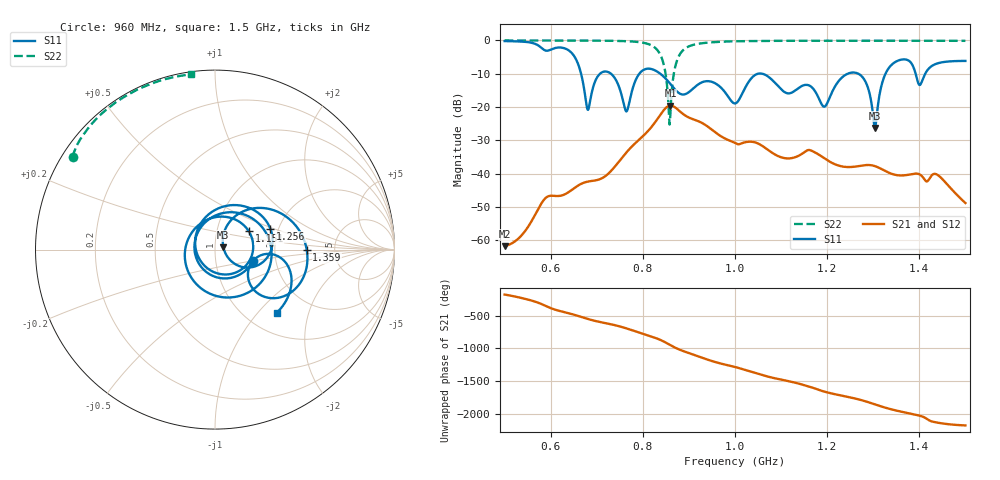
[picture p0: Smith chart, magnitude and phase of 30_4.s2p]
! TOUCHSTONE file generated by CST MICROWAVE STUDIO
! Date and time: Sat Nov 14 20:02:28 2020
! Project name: Scenario_1_Planar_Body_Tissue_Out_of_Line.cst
! Parameters = {dy1=-155.7; L_HA=400; Ltissue=700; MT=2.54; Rad_Dielectric=30; Rad_Lower=7.3; Rad_Upper=30; Wtissue=700; a_HA=580; a_WG=246; b_HA=500; b_WG=121; c_HA=0; c_WG=187; d_feed=85; dx1=693; h_feed=15; h_lower=18; h_upper=40; hfat=3; hgap=25; hmuscle=50; hskin=1.5}
! Header version: 2018
! Port assignment regex: !\s*Touchstone port\s*([0-9]+)\s*=\s*(CST MWS port|CST DS port)\s*([0-9]+|Zmin|Zmax)\s*\(\"(.*)\"\)(\s*mode\s*([0-9]+))?.*
! Touchstone port assignment:
! Touchstone port 1 = CST MWS port 1 ("")
! Touchstone port 2 = CST MWS port 2 ("")
# GHz S DB R 50
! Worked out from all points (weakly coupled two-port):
!   1003 points, 500 MHz to 1.5 GHz, reference 50 ohm
!   highest |S21| = -19.57 dB at 860 MHz (marker M1); lowest = -61.8 dB at 500 MHz (marker M2)
!   lowest |S11| = -26.3 dB at 1.304 GHz (marker M3), VSWR 1.10, Z = 54.9 + j1.49 ohm
!   |S11| at or under -10 dB: 730.8 MHz to 792.3 MHz (61.47 MHz wide, 8.07 % of centre); 837.9 MHz to 1.05 GHz (212 MHz wide, 22.5 % of centre); 1.059 GHz to 1.245 GHz (185.2 MHz wide, 16.1 % of centre) (the widest 3 of 6)
!   |S22| runs from -25.3 to 0.0 dB; largest |S21 - S12| = 6.4e-05
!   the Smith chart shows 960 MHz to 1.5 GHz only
!   S11 on the Smith chart (normalised r, x): 960 MHz: 1.52, -0.21; 1.151 GHz: 1.43, +0.30; 1.256 GHz: 1.81, +0.47; 1.359 GHz: 3.09, -0.02; 1.5 GHz: 1.37, -1.27
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0.5  -0.19 -121.6  -61.78 -174.0  -61.78 -174.0  -0.01 151.2
0.621  -2.13 173.9  -46.65 -68.5  -46.65 -68.5  -0.02 142.5
0.667  -10.57 104.6  -43.00 -158.5  -43.00 -158.5  -0.04 138.4
0.68  -20.77 138.3  -42.41 173.2  -42.41 173.2  -0.05 137.1
0.72  -9.33 141.8  -40.60 106.7  -40.60 106.7  -0.09 132.3
0.764  -21.31 -26.5  -33.69 28.2  -33.69 28.2  -0.23 124.6
0.798  -9.18 161.8  -29.02 -49.7  -29.02 -49.7  -0.63 113.6
0.834  -9.61 61.5  -23.12 -137.0  -23.12 -137.0  -3.36 84.1
0.86  -13.12 -17.3  -19.57 130.1  -19.57 130.1  -21.25 -101.5
0.884  -16.18 -106.4  -21.73 49.5  -21.73 49.5  -3.44 -176.9
0.96  -13.12 -17.1  -27.87 -134.1  -27.87 -134.1  -0.47 146.9
1  -18.91 -169.7  -30.78 156.4  -30.78 156.4  -0.25 140.2
1.05  -9.99 -4.9  -30.95 51.3  -30.95 51.3  -0.17 134.4
1.103  -15.03 -160.0  -35.21 -41.6  -35.21 -41.6  -0.12 129.4
1.151  -13.39 28.3  -33.51 -124.7  -33.51 -124.7  -0.10 125.5
1.167  -14.10 -23.4  -33.17 -157.6  -33.17 -157.6  -0.09 124.2
1.256  -9.63 20.6  -37.97 40.6  -37.97 40.6  -0.08 117.4
1.304  -26.29 16.3  -37.75 -57.7  -37.75 -57.7  -0.09 113.8
1.334  -8.25 35.2  -39.72 -123.1  -39.72 -123.1  -0.09 111.5
1.359  -5.83 -0.2  -40.55 -166.2  -40.55 -166.1  -0.09 109.6
1.401  -13.39 -23.9  -40.25 129.1  -40.23 129.0  -0.09 106.3
1.5  -6.16 -45.6  -48.82 -19.9  -48.82 -19.9  -0.13 98.0
